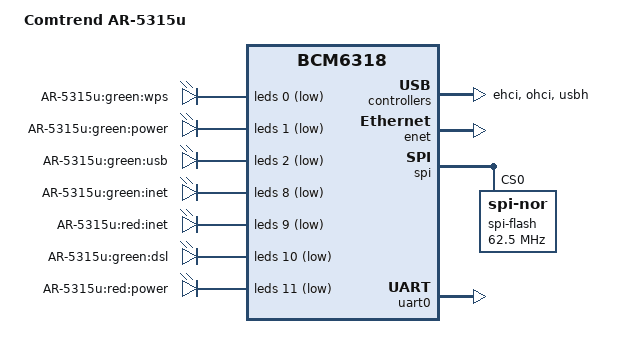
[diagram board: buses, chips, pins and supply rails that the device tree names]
// SPDX-License-Identifier: GPL-2.0+
/*
 * Copyright (C) 2018 Álvaro Fernández Rojas <noltari@gmail.com>
 */

/dts-v1/;

#include "brcm,bcm6318.dtsi"

/ {
	model = "Comtrend AR-5315u";
	compatible = "comtrend,ar5315-un", "brcm,bcm6318";

	aliases {
		serial0 = &uart0;
	};

	chosen {
		stdout-path = "serial0:115200n8";
	};
};

&ehci {
	status = "okay";
};

&enet {
	status = "okay";

	port@0 {
		compatible = "brcm,enetsw-port";
		reg = <0>;
		label = "fe4";
		brcm,phy-id = <1>;
	};

	port@1 {
		compatible = "brcm,enetsw-port";
		reg = <1>;
		label = "fe3";
		brcm,phy-id = <2>;
	};

	port@2 {
		compatible = "brcm,enetsw-port";
		reg = <2>;
		label = "fe2";
		brcm,phy-id = <3>;
	};

	port@3 {
		compatible = "brcm,enetsw-port";
		reg = <3>;
		label = "fe1";
		brcm,phy-id = <4>;
	};
};

&leds {
	status = "okay";

	led@0 {
		reg = <0>;
		active-low;
		label = "AR-5315u:green:wps";
	};

	led@1 {
		reg = <1>;
		active-low;
		label = "AR-5315u:green:power";
	};

	led@2 {
		reg = <2>;
		active-low;
		label = "AR-5315u:green:usb";
	};

	led@8 {
		reg = <8>;
		active-low;
		label = "AR-5315u:green:inet";
	};

	led@9 {
		reg = <9>;
		active-low;
		label = "AR-5315u:red:inet";
	};

	led@10 {
		reg = <10>;
		active-low;
		label = "AR-5315u:green:dsl";
	};

	led@11 {
		reg = <11>;
		active-low;
		label = "AR-5315u:red:power";
	};
};

&ohci {
	status = "okay";
};

&spi {
	status = "okay";

	spi-flash@0 {
		compatible = "jedec,spi-nor";
		reg = <0>;
		#address-cells = <1>;
		#size-cells = <1>;
		spi-max-frequency = <62500000>;
	};
};

&uart0 {
	u-boot,dm-pre-reloc;
	status = "okay";
};

&usbh {
	status = "okay";
};
